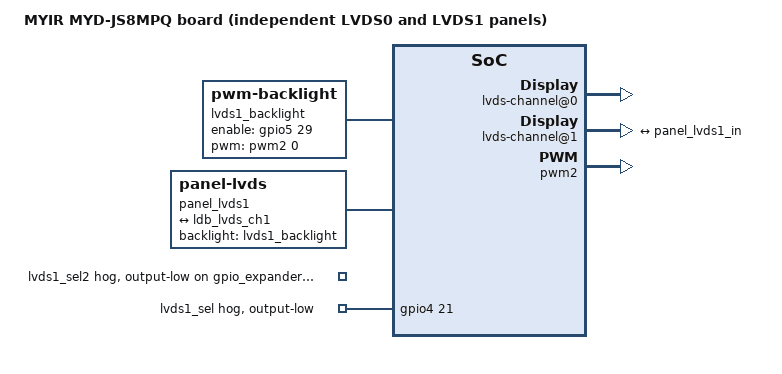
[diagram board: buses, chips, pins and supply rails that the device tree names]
// SPDX-License-Identifier: (GPL-2.0+ OR MIT)
/*
 * Copyright 2026 MYIR Technology Co., Ltd.
 *
 * MYD-JS8MPQ with two independent single-channel LVDS panels enabled:
 * LVDS0 is the panel on J11 and LVDS1 is the panel on J10.
 *
 * Display paths:
 *   lcdif2 -> LDB channel 0 -> LVDS0 1024x600 panel
 *   lcdif2 -> LDB channel 1 -> LVDS1 1024x600 panel
 *
 * Both LDB channels share the one LCDIF2 pixel source.  The two panels must
 * therefore use the same mode and display a cloned image.  This is not the
 * J12 split-pixel dual-link connection provided by myd-js8mpq-lvds-dual.dts,
 * so this file must not set fsl,dual-channel.  fsl,channel-clone limits the
 * DRM encoder-clone capability to this dual single-link display variant.
 *
 * LVDS0 uses PWM1 + GPIO1_IO05 for its backlight.  LVDS1 uses PWM2 +
 * GPIO5_IO29.  The two FT5x06 controllers both use address 0x38, but are on
 * separate buses: LVDS1 uses I2C4 with GPIO1_IO00 as its interrupt, while
 * LVDS0 uses I2C5 with GPIO1_IO06 as its interrupt.
 */

#include "myd-js8mpq.dts"

/ {
	model = "MYIR MYD-JS8MPQ board (independent LVDS0 and LVDS1 panels)";

	lvds1_backlight: backlight-lvds1 {
		compatible = "pwm-backlight";
		pwms = <&pwm2 0 100000 0>;
		brightness-levels = <0 8 16 32 48 64 80 96 112 128
				     144 160 176 192 208 224 240 255>;
		default-brightness-level = <14>;
		enable-gpios = <&gpio5 29 GPIO_ACTIVE_HIGH>;
	};

	panel_lvds1: panel-lvds1 {
		compatible = "panel-lvds";
		backlight = <&lvds1_backlight>;
		data-mapping = "vesa-24";
		width-mm = <154>;
		height-mm = <86>;

		panel-timing {
			clock-frequency = <49500000>;
			hactive = <1024>;
			vactive = <600>;
			hsync-len = <10>;
			hfront-porch = <160>;
			hback-porch = <160>;
			vsync-len = <3>;
			vfront-porch = <12>;
			vback-porch = <23>;
			de-active = <1>;
		};

		port {
			panel_lvds1_in: endpoint {
				remote-endpoint = <&ldb_lvds_ch1>;
			};
		};
	};
};

/*
 * Only the dual-panel variant enables panel-coupled deferred probing.  Touch
 * power follows the corresponding panel connector and may not be ready when
 * the I2C controller first probes.
 */
&lvds_touch {
	panel = <&panel_lvds1>;
};

&lvds0_touch {
	panel = <&panel_lvds>;
};

&ldb {
	/delete-property/ fsl,dual-channel;
	fsl,channel-clone;

	lvds-channel@0 {
		status = "okay";
	};

	lvds-channel@1 {
		#address-cells = <1>;
		#size-cells = <0>;
		status = "okay";

		port@1 {
			reg = <1>;

			ldb_lvds_ch1: endpoint {
				remote-endpoint = <&panel_lvds1_in>;
			};
		};
	};
};

&pwm2 {
	pinctrl-names = "default";
	pinctrl-0 = <&pinctrl_pwm2>;
	status = "okay";
};

/* Core-module and baseboard switches: LOW routes channel 1 to LVDS1. */
&gpio_expander {
	lvds1-sel2-hog {
		gpio-hog;
		gpios = <10 GPIO_ACTIVE_HIGH>;
		output-low;
		line-name = "lvds1_sel2";
	};
};

&gpio4 {
	pinctrl-names = "default";
	pinctrl-0 = <&pinctrl_lvds1_sel>;

	lvds1-sel-hog {
		gpio-hog;
		gpios = <21 GPIO_ACTIVE_HIGH>;
		output-low;
		line-name = "lvds1_sel";
	};
};

&gpio5 {
	pinctrl-names = "default";
	pinctrl-0 = <&pinctrl_lvds1_bl_en>;
};

&iomuxc {
	pinctrl_pwm2: pwm2grp {
		fsl,pins = <
			MX8MP_IOMUXC_GPIO1_IO11__PWM2_OUT	0x116
		>;
	};

	pinctrl_lvds1_sel: lvds1selgrp {
		fsl,pins = <
			MX8MP_IOMUXC_SAI2_RXFS__GPIO4_IO21	0x140
		>;
	};

	pinctrl_lvds1_bl_en: lvds1blengrp {
		fsl,pins = <
			MX8MP_IOMUXC_UART4_TXD__GPIO5_IO29	0x140
		>;
	};
};
